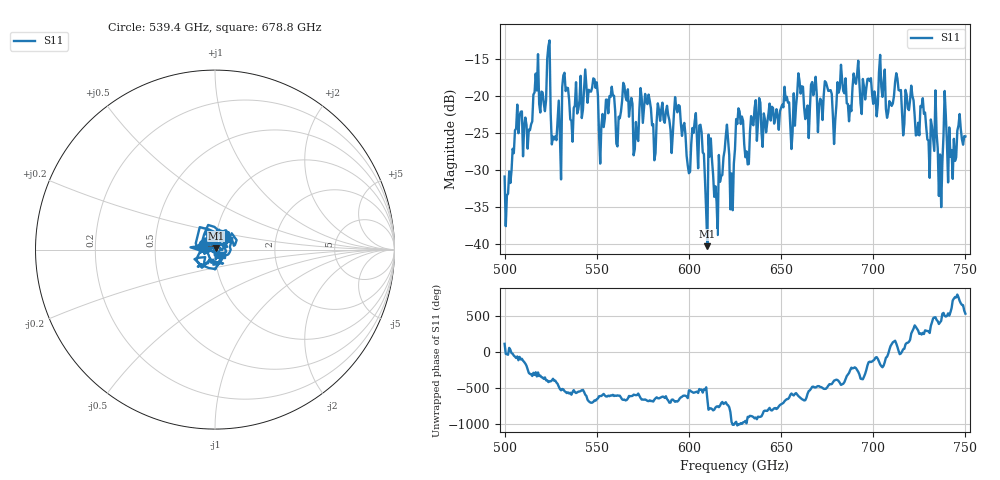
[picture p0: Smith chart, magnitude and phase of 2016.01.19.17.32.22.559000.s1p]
!Created with skrf (http://scikit-rf.org).
# GHz S RI R 50.0
!freq ReS11 ImS11
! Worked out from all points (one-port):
!   401 points, 500 GHz to 750 GHz, reference 50 ohm
!   lowest |S11| = -40.3 dB at 610 GHz (marker M1), VSWR 1.02, Z = 50.5 + j0.847 ohm
!   |S11| at or under -10 dB: start of sweep to end of sweep
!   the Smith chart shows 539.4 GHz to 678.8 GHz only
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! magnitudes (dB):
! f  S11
! 500 GHz  -30.9
! 508.1 GHz  -22.7
! 513.8 GHz  -24.6
! 516.9 GHz  -17.0
! 523.8 GHz  -13.3
! 526.9 GHz  -25.9
! 531.2 GHz  -18.8
! 548.8 GHz  -17.7
! 552.5 GHz  -24.0
! 558.1 GHz  -18.7
! 562.5 GHz  -23.0
! 593.8 GHz  -22.2
! 600 GHz  -30.4
! 606.9 GHz  -24.9
! 610 GHz  -40.3
! 625 GHz  -27.2
! 628.1 GHz  -23.8
! 631.2 GHz  -27.5
! 635 GHz  -24.0
! 656.2 GHz  -24.9
! 660.6 GHz  -19.7
! 687.5 GHz  -21.3
! 690.6 GHz  -18.4
! 718.8 GHz  -21.7
! 732.5 GHz  -25.7
! 736.2 GHz  -27.9
! 738.8 GHz  -19.3
! 750 GHz  -25.5
